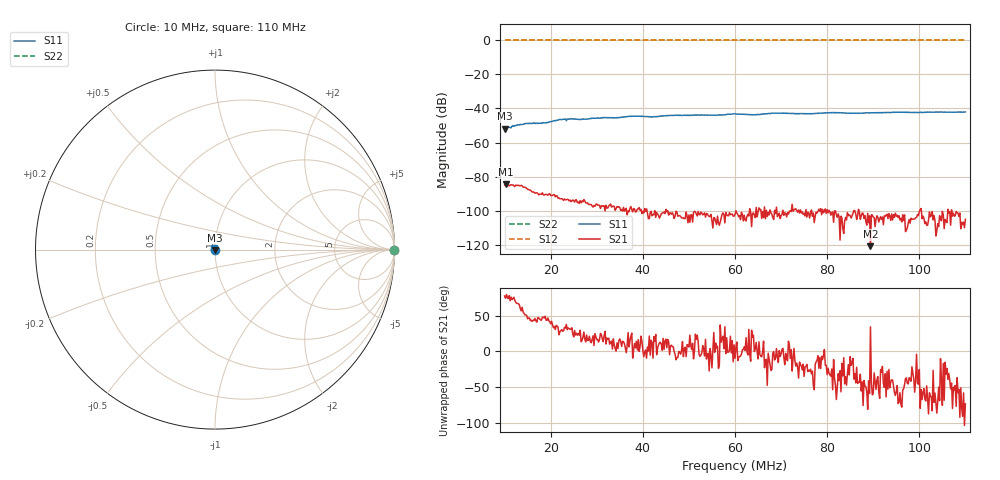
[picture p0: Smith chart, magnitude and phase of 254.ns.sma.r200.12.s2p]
! Anritsu VNA Master:  Model: MS2036C/10/77
! SN:  1601066
! /card0/usr/254.ns.sma.r200.12.s2p
! Existing Calibration Information:
! TYPE:  Current Settings,  Active Cal Settings
! TIME:  12/20/2017 01:34:15 PM,  12/20/2017 01:21:26 PM
! INTERNAL TEMP:  45.8 C,  44.5 C
! # POINTS:  501,  501
! START FREQ:  10.000 MHz,  10.000 MHz
! STOP FREQ:  110.000 MHz,  110.000 MHz
! SOURCE POWER:  High,  High
! IFBW:  100 Hz,  100 Hz
! AVG FACTOR:  1 ,  1
! REF PLANE 1:  0 mm,  0 mm
! REF PLANE 2:  0 mm,  0 mm
! CAL TYPE:  Full S11,  Full S11
! CAL METHOD:  SOLT,  SOLT
! CAL LINE TYPE:  Coax,  Coax
! DUT PORT 1:  N-Conn(F),  N-Conn(F)
! DUT PORT 2:  K-Conn(F),  K-Conn(F)
! CAL STATUS:  OK: Accuracy High,  --
# GHZ S DB R 50.0
! FREQ.GHZ  S11DB  S11A  S21DB  S21A  S12DB  S12A  S22DB  S22A
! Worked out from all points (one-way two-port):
!   501 points, 10 MHz to 110 MHz, reference 50 ohm
!   highest |S21| = -84.61 dB at 10.2 MHz (marker M1); lowest = -121.0 dB at 89.4 MHz (marker M2)
!   lowest |S11| = -51.8 dB at 10 MHz (marker M3), VSWR 1.01, Z = 49.9 - j0.245 ohm
!   |S11| at or under -10 dB: start of sweep to end of sweep
!   |S22| runs from 0.0 to 0.0 dB; largest |S21 - S12| = 1
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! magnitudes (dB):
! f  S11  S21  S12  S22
! 10 MHz  -51.8  -85.0  0.0  0.0
! 10.2 MHz  -51.0  -84.6  0.0  0.0
! 14.6 MHz  -48.9  -86.6  0.0  0.0
! 19 MHz  -48.4  -90.5  0.0  0.0
! 22.2 MHz  -46.6  -93.0  0.0  0.0
! 26.8 MHz  -46.3  -94.4  0.0  0.0
! 31.6 MHz  -45.4  -97.2  0.0  0.0
! 34.2 MHz  -45.5  -98.8  0.0  0.0
! 37.6 MHz  -44.6  -99.4  0.0  0.0
! 41.8 MHz  -44.9  -100.5  0.0  0.0
! 43.4 MHz  -44.6  -102.9  0.0  0.0
! 46 MHz  -44.1  -101.4  0.0  0.0
! 56 MHz  -43.9  -108.3  0.0  0.0
! 60 MHz  -43.2  -102.3  0.0  0.0
! 64 MHz  -43.7  -101.4  0.0  0.0
! 68.6 MHz  -42.7  -99.9  0.0  0.0
! 76.8 MHz  -43.1  -103.4  0.0  0.0
! 80.8 MHz  -42.5  -102.7  0.0  0.0
! 86.4 MHz  -42.7  -105.3  0.0  0.0
! 89.4 MHz  -42.5  -121.0  0.0  0.0
! 93.4 MHz  -42.4  -101.8  0.0  0.0
! 110 MHz  -42.1  -105.2  0.0  0.0
